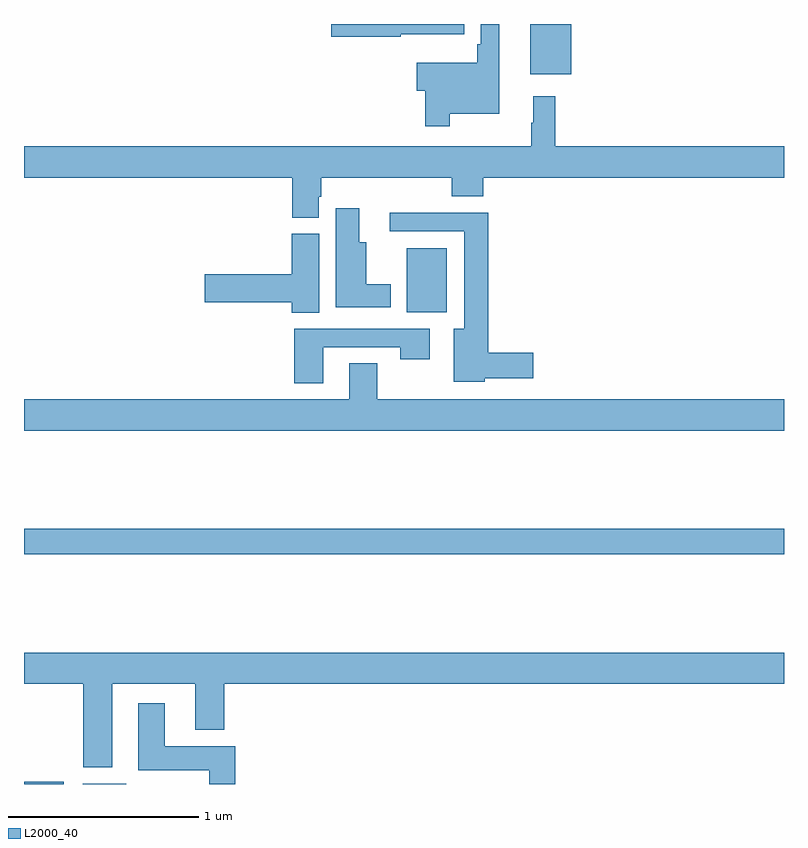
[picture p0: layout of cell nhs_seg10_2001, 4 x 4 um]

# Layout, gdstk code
import gdstk
lib = gdstk.Library(unit=1e-6, precision=1e-09)
def R(c, l, rs):  # rectangles x0, y0, x1, y1
    for r in rs: c.add(gdstk.rectangle(r[:2], r[2:], *l))
def P(c, l, *ps):  # polygons
    for p in ps: c.add(gdstk.Polygon(p, *l))
L2000_40 = (2000, 40)

nhs_seg10_2001 = lib.new_cell('nhs_seg10_2001')
R(nhs_seg10_2001, L2000_40, [(217,1254.5,217.208,1254.512), (217.308,1254.5,217.537,1254.502), (217,1255.708,221,1255.844), (219.014,1256.984,219.226,1257.319), (219.665,1258.235,219.88,1258.5)])
P(nhs_seg10_2001, L2000_40, [(219.241,1258.028),(219.502,1258.028),(219.502,1258.5),(219.405,1258.5),(219.405,1258.393),(219.385,1258.393),(219.385,1258.297),(219.068,1258.297),(219.068,1258.15),(219.112,1258.15),(219.112,1257.963),(219.241,1257.963)],
  [(218.984,1258.445),(219.316,1258.445),(219.316,1258.5),(218.616,1258.5),(218.616,1258.433),(218.984,1258.433)],
  [(218.551,1257.591),(218.564,1257.591),(218.564,1257.692),(219.251,1257.692),(219.251,1257.593),(219.416,1257.593),(219.416,1257.692),(221,1257.692),(221,1257.856),(219.797,1257.856),(219.797,1258.12),(219.68,1258.12),(219.68,1257.98),(219.669,1257.98),(219.669,1257.856),(217,1257.856),(217,1257.692),(218.411,1257.692),(218.411,1257.481),(218.551,1257.481)],
  [(218.929,1257.13),(218.8,1257.13),(218.8,1257.352),(218.764,1257.352),(218.764,1257.529),(218.642,1257.529),(218.642,1257.008),(218.929,1257.008)],
  [(219.426,1256.636),(219.679,1256.636),(219.679,1256.771),(219.443,1256.771),(219.443,1257.506),(218.925,1257.506),(218.925,1257.408),(219.317,1257.408),(219.317,1256.896),(219.263,1256.896),(219.263,1256.618),(219.426,1256.618)],
  [(218.554,1257.396),(218.408,1257.396),(218.408,1257.182),(217.95,1257.182),(217.95,1257.035),(218.408,1257.035),(218.408,1256.98),(218.554,1256.98)],
  [(218.575,1256.799),(218.98,1256.799),(218.98,1256.736),(219.136,1256.736),(219.136,1256.895),(218.423,1256.895),(218.423,1256.61),(218.575,1256.61)],
  [(221,1256.524),(218.859,1256.524),(218.859,1256.714),(218.711,1256.714),(218.711,1256.524),(217,1256.524),(217,1256.36),(221,1256.36)],
  [(217.465,1255.028),(217.901,1255.028),(217.901,1254.785),(218.054,1254.785),(218.054,1255.028),(221,1255.028),(221,1255.192),(217,1255.192),(217,1255.028),(217.313,1255.028),(217.313,1254.587),(217.465,1254.587)],
  [(218.111,1254.7),(217.741,1254.7),(217.741,1254.925),(217.601,1254.925),(217.601,1254.572),(217.976,1254.572),(217.976,1254.5),(218.111,1254.5)])

lib.write_gds('nhs_seg10_2001.gds')
